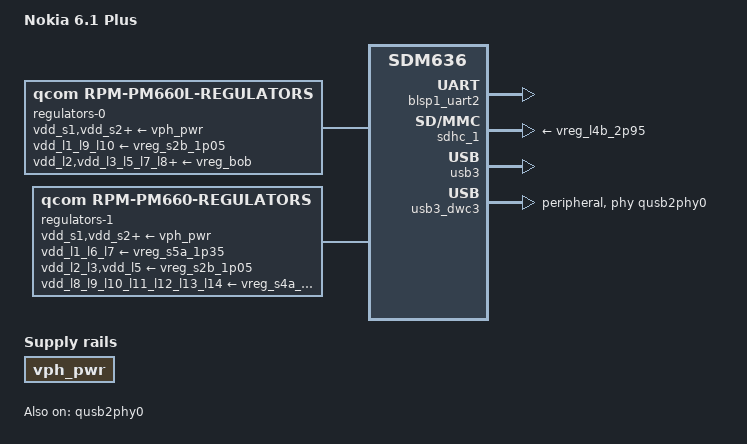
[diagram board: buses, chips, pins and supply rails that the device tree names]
// SPDX-License-Identifier: GPL-2.0-only
/*
 * Copyright (c) 2026, ZethraOS Project
 *
 * Device tree for Nokia 6.1 Plus (DRG/FRT) — SDM636 SoC
 *
 * This DTS follows the proven Sony Xperia Nile/Ganges pattern:
 *  - Include sdm636.dtsi (which includes sdm630.dtsi)
 *  - Include PM660/PM660L PMIC dtsi
 *  - Keep mainline reserved-memory nodes INTACT
 *  - Only override what's board-specific
 */

/dts-v1/;

#include "sdm636.dtsi"
#include "pm660.dtsi"
#include "pm660l.dtsi"

/ {
	model = "Nokia 6.1 Plus";
	compatible = "nokia,drg", "qcom,sdm636";
	chassis-type = "handset";

	/* Required for bootloader to select correct board */
	qcom,msm-id = <345 0>;
	qcom,board-id = <8 0>;
	qcom,pmic-id = <0x1001b 0x101011a 0x00 0x00 0x1001b 0x201011a 0x00 0x00>;
	fih,hw-id = <0x09 0x03 0x00>;

	fih_info_management {
		status = "okay";
		compatible = "fih,dt_info";
		ftm_voltage_path = "/sys/class/power_supply/battery/voltage_now";
		ftm_charger_cur_path = "/sys/class/power_supply/battery/input_current_max";
		ftm_charger_path = "/sys/class/power_supply/battery/charging_enabled";
		acdbdir = "DRG";
		adspinfo = "DEVT";
	};

	fih_info {
		compatible = "fih_info";
		status = "ok";
		fih-info,bandinfo = "Overwrite_In_ABL";
		fih-info,simslot = "Overwrite_In_ABL";
		fih-info,fqcxmlpath = "Overwrite_In_ABL";
		fih-info,hwmodel = "Overwrite_In_ABL";
		fih-info,devmodel = "Overwrite_In_ABL";
		fih-info,baseband = "Overwrite_In_ABL";
	};

	aliases {
		serial0 = &blsp1_uart2;
	};

	chosen {
		bootargs = "console=tty0";

		#address-cells = <2>;
		#size-cells = <2>;
		ranges;

		stdout-path = "framebuffer0";

		framebuffer0: framebuffer@9d400000 {
			compatible = "simple-framebuffer";
			reg = <0 0x9d400000 0 (2280 * 1080 * 4)>;
			width = <1080>;
			height = <2280>;
			stride = <(1080 * 4)>;
			format = "a8r8g8b8";
			status = "okay";
		};
	};

	/delete-node/ memory@80000000;

	memory {
		device_type = "memory";
		reg = <0x00 0x80000000 0x00 0x00>;
	};


	reserved-memory {
		#address-cells = <0x02>;
		#size-cells = <0x02>;
		ranges;

		/* Custom Foxconn/Nokia partitions */
		fih_nv@AC000000 {
			compatible = "removed-dma-pool";
			no-map;
			reg = <0x00 0xac000000 0x00 0x800000>;
		};

		fih_mem@AC800000 {
			compatible = "removed-dma-pool";
			no-map;
			reg = <0x00 0xac800000 0x00 0x300000>;
		};

		splash_region@9d400000 {
			reg = <0x00 0x9d400000 0x00 0x23ff000>;
			label = "cont_splash_mem";
			no-map;
		};

		dfps_data_mem@9f7ff000 {
			reg = <0x00 0x9f7ff000 0x00 0x1000>;
			label = "dfps_data_mem";
		};

		ramoops@acb00000 {
			compatible = "ramoops";
			reg = <0x00 0xacb00000 0x00 0x200000>;
			record-size = <0x1000>;
			console-size = <0x40000>;
			ftrace-size = <0x1000>;
			pmsg-size = <0x1000>;
		};
	};


	vph_pwr: vph-pwr-regulator {
		compatible = "regulator-fixed";
		regulator-name = "vph_pwr";

		regulator-always-on;
		regulator-boot-on;
	};
};

/*
 * Nokia 6.1 Plus reserves 0x85800000-0x88f00000 (0x3700000 bytes) for firmware/TZ.
 * In mainline sdm630.dtsi, this range is split into:
 *  - qhee_code (0x85800000, size 0x600000 = 6MB)
 *  - rmtfs_mem (0x85e00000, size 0x200000 = 2MB)
 *  - smem_region (0x86000000, size 0x200000 = 2MB)
 *  - tz_mem (0x86200000, size 0x3300000 = 51MB)
 * We keep qhee_code, rmtfs_mem, and smem_region at their mainline sizes,
 * but resize tz_mem to 0x2d00000 (45MB) so that the entire block ends at 0x88f00000,
 * matching stock firmware layout exactly and avoiding overlaps.
 */


/* UART console */
&blsp1_uart2 {
	status = "okay";
};

/* eMMC */
&sdhc_1 {
	status = "okay";
	supports-cqe;

	mmc-hs200-1_8v;
	mmc-hs400-1_8v;
	mmc-hs400-enhanced-strobe;

	vmmc-supply = <&vreg_l4b_2p95>;
	vqmmc-supply = <&vreg_l8a_1p8>;
};

/* USB PHY */
&qusb2phy0 {
	status = "okay";

	vdd-supply = <&vreg_l1b_0p925>;
	vdda-pll-supply = <&vreg_l10a_1p8>;
	vdda-phy-dpdm-supply = <&vreg_l7b_3p125>;

	/delete-property/ nvmem-cells;
	/delete-property/ nvmem-cell-names;
};

/* USB controller */
&usb3 {
	qcom,select-utmi-as-pipe-clk;

	status = "okay";
};

&usb3_dwc3 {
	maximum-speed = "high-speed";
	phys = <&qusb2phy0>;
	phy-names = "usb2-phy";

	dr_mode = "peripheral";
};

/* RPM regulators */
&rpm_requests {
	regulators-0 {
		compatible = "qcom,rpm-pm660l-regulators";

		vdd_s1-supply = <&vph_pwr>;
		vdd_s2-supply = <&vph_pwr>;
		vdd_s3_s4-supply = <&vph_pwr>;
		vdd_s5-supply = <&vph_pwr>;
		vdd_s6-supply = <&vph_pwr>;

		vdd_l1_l9_l10-supply = <&vreg_s2b_1p05>;
		vdd_l2-supply = <&vreg_bob>;
		vdd_l3_l5_l7_l8-supply = <&vreg_bob>;
		vdd_l4_l6-supply = <&vreg_bob>;
		vdd_bob-supply = <&vph_pwr>;

		vreg_s1b_1p125: s1 {
			regulator-min-microvolt = <1125000>;
			regulator-max-microvolt = <1125000>;
			regulator-enable-ramp-delay = <200>;
			regulator-ramp-delay = <0>;
		};

		vreg_s2b_1p05: s2 {
			regulator-min-microvolt = <1050000>;
			regulator-max-microvolt = <1050000>;
			regulator-enable-ramp-delay = <200>;
			regulator-ramp-delay = <0>;
		};

		/* LDOs */
		vreg_l1b_0p925: l1 {
			regulator-min-microvolt = <920000>;
			regulator-max-microvolt = <928000>;
			regulator-enable-ramp-delay = <250>;
			regulator-ramp-delay = <0>;
			regulator-allow-set-load;
		};

		vreg_l2b_2p95: l2 {
			regulator-min-microvolt = <1648000>;
			regulator-max-microvolt = <2696000>;
			regulator-enable-ramp-delay = <250>;
			regulator-ramp-delay = <0>;
			regulator-allow-set-load;
		};

		vreg_l3b_3p3: l3 {
			regulator-min-microvolt = <1700000>;
			regulator-max-microvolt = <3300000>;
			regulator-enable-ramp-delay = <250>;
			regulator-ramp-delay = <0>;
			regulator-allow-set-load;
		};

		vreg_l4b_2p95: l4 {
			regulator-min-microvolt = <2944000>;
			regulator-max-microvolt = <2952000>;
			regulator-enable-ramp-delay = <250>;
			regulator-ramp-delay = <0>;

			regulator-min-microamp = <200>;
			regulator-max-microamp = <600000>;
			regulator-system-load = <570000>;
			regulator-allow-set-load;
		};

		vreg_l5b_2p95: l5 {
			regulator-min-microvolt = <1800000>;
			regulator-max-microvolt = <3328000>;
			regulator-enable-ramp-delay = <250>;
			regulator-ramp-delay = <0>;
			regulator-allow-set-load;
			regulator-system-load = <800000>;
		};

		vreg_l7b_3p125: l7 {
			regulator-min-microvolt = <2700000>;
			regulator-max-microvolt = <3125000>;
			regulator-enable-ramp-delay = <250>;
			regulator-ramp-delay = <0>;
		};

		vreg_l8b_3p3: l8 {
			regulator-min-microvolt = <3200000>;
			regulator-max-microvolt = <3400000>;
			regulator-enable-ramp-delay = <250>;
			regulator-ramp-delay = <0>;
		};

		vreg_bob: bob {
			regulator-min-microvolt = <3300000>;
			regulator-max-microvolt = <3600000>;
			regulator-enable-ramp-delay = <500>;
			regulator-ramp-delay = <0>;
		};
	};

	regulators-1 {
		compatible = "qcom,rpm-pm660-regulators";

		vdd_s1-supply = <&vph_pwr>;
		vdd_s2-supply = <&vph_pwr>;
		vdd_s3-supply = <&vph_pwr>;
		vdd_s4-supply = <&vph_pwr>;
		vdd_s5-supply = <&vph_pwr>;
		vdd_s6-supply = <&vph_pwr>;

		vdd_l1_l6_l7-supply = <&vreg_s5a_1p35>;
		vdd_l2_l3-supply = <&vreg_s2b_1p05>;
		vdd_l5-supply = <&vreg_s2b_1p05>;
		vdd_l8_l9_l10_l11_l12_l13_l14-supply = <&vreg_s4a_2p04>;
		vdd_l15_l16_l17_l18_l19-supply = <&vreg_bob>;

		/*
		 * S1A (FTAPC0), S2A (FTAPC1), S3A (HFAPC1) are managed
		 * by the Core Power Reduction hardened (CPRh) and the
		 * Operating State Manager (OSM) HW automatically.
		 */

		vreg_s4a_2p04: s4 {
			regulator-min-microvolt = <2040000>;
			regulator-max-microvolt = <2040000>;
			regulator-enable-ramp-delay = <200>;
			regulator-ramp-delay = <0>;
			regulator-always-on;
		};

		vreg_s5a_1p35: s5 {
			regulator-min-microvolt = <1224000>;
			regulator-max-microvolt = <1350000>;
			regulator-enable-ramp-delay = <200>;
			regulator-ramp-delay = <0>;
		};

		vreg_s6a_0p87: s6 {
			regulator-min-microvolt = <504000>;
			regulator-max-microvolt = <992000>;
			regulator-enable-ramp-delay = <150>;
			regulator-ramp-delay = <0>;
		};

		/* LDOs */
		vreg_l1a_1p225: l1 {
			regulator-min-microvolt = <1150000>;
			regulator-max-microvolt = <1250000>;
			regulator-enable-ramp-delay = <250>;
			regulator-ramp-delay = <0>;
			regulator-allow-set-load;
		};

		vreg_l2a_1p0: l2 {
			regulator-min-microvolt = <950000>;
			regulator-max-microvolt = <1010000>;
			regulator-enable-ramp-delay = <250>;
			regulator-ramp-delay = <0>;
		};

		vreg_l3a_1p0: l3 {
			regulator-min-microvolt = <950000>;
			regulator-max-microvolt = <1010000>;
			regulator-enable-ramp-delay = <250>;
			regulator-ramp-delay = <0>;
		};

		vreg_l5a_0p848: l5 {
			regulator-min-microvolt = <525000>;
			regulator-max-microvolt = <950000>;
			regulator-enable-ramp-delay = <250>;
			regulator-ramp-delay = <0>;
		};

		vreg_l6a_1p3: l6 {
			regulator-min-microvolt = <1200000>;
			regulator-max-microvolt = <1370000>;
			regulator-allow-set-load;
			regulator-enable-ramp-delay = <250>;
			regulator-ramp-delay = <0>;
		};

		vreg_l7a_1p2: l7 {
			regulator-min-microvolt = <1200000>;
			regulator-max-microvolt = <1200000>;
			regulator-enable-ramp-delay = <250>;
			regulator-ramp-delay = <0>;
		};

		vreg_l8a_1p8: l8 {
			regulator-min-microvolt = <1750000>;
			regulator-max-microvolt = <1800000>;
			regulator-enable-ramp-delay = <250>;
			regulator-ramp-delay = <0>;
			regulator-system-load = <325000>;
			regulator-allow-set-load;
		};

		vreg_l9a_1p8: l9 {
			regulator-min-microvolt = <1750000>;
			regulator-max-microvolt = <1900000>;
			regulator-enable-ramp-delay = <250>;
			regulator-ramp-delay = <0>;
			regulator-allow-set-load;
		};

		vreg_l10a_1p8: l10 {
			regulator-min-microvolt = <1780000>;
			regulator-max-microvolt = <1950000>;
			regulator-enable-ramp-delay = <250>;
			regulator-ramp-delay = <0>;
			regulator-allow-set-load;
		};

		vreg_l11a_1p8: l11 {
			regulator-min-microvolt = <1780000>;
			regulator-max-microvolt = <1950000>;
			regulator-enable-ramp-delay = <250>;
			regulator-ramp-delay = <0>;
		};

		vreg_l12a_1p8: l12 {
			regulator-min-microvolt = <1780000>;
			regulator-max-microvolt = <1950000>;
			regulator-enable-ramp-delay = <250>;
			regulator-ramp-delay = <0>;
		};

		/* This gives power to the LPDDR4: never turn it off! */
		vreg_l13a_1p8: l13 {
			regulator-min-microvolt = <1780000>;
			regulator-max-microvolt = <1950000>;
			regulator-enable-ramp-delay = <250>;
			regulator-ramp-delay = <0>;
			regulator-boot-on;
			regulator-always-on;
		};

		vreg_l14a_1p8: l14 {
			regulator-min-microvolt = <1710000>;
			regulator-max-microvolt = <1900000>;
			regulator-enable-ramp-delay = <250>;
			regulator-ramp-delay = <0>;
		};

		vreg_l15a_1p8: l15 {
			regulator-min-microvolt = <1650000>;
			regulator-max-microvolt = <2950000>;
			regulator-enable-ramp-delay = <250>;
			regulator-ramp-delay = <0>;
		};

		vreg_l16a_2p7: l16 {
			regulator-min-microvolt = <2800000>;
			regulator-max-microvolt = <2800000>;
			regulator-enable-ramp-delay = <250>;
			regulator-ramp-delay = <0>;
			regulator-always-on;
		};

		vreg_l17a_1p8: l17 {
			regulator-min-microvolt = <1648000>;
			regulator-max-microvolt = <2952000>;
			regulator-enable-ramp-delay = <250>;
			regulator-ramp-delay = <0>;
		};

		vreg_l19a_3p3: l19 {
			regulator-min-microvolt = <3312000>;
			regulator-max-microvolt = <3400000>;
			regulator-enable-ramp-delay = <250>;
			regulator-ramp-delay = <0>;
			regulator-allow-set-load;
		};
	};
};

/* Disable mainline hardcoded reserved-memory regions to prevent conflicts */
&adsp_mem {
	status = "disabled";
};

&qseecom_mem {
	status = "disabled";
};



&zap_shader_region {
	status = "disabled";
};

&tz_mem {
	reg = <0x0 0x86200000 0x0 0x2d00000>;
};

&tlmm {
	gpio-reserved-ranges = <8 4>;
};

